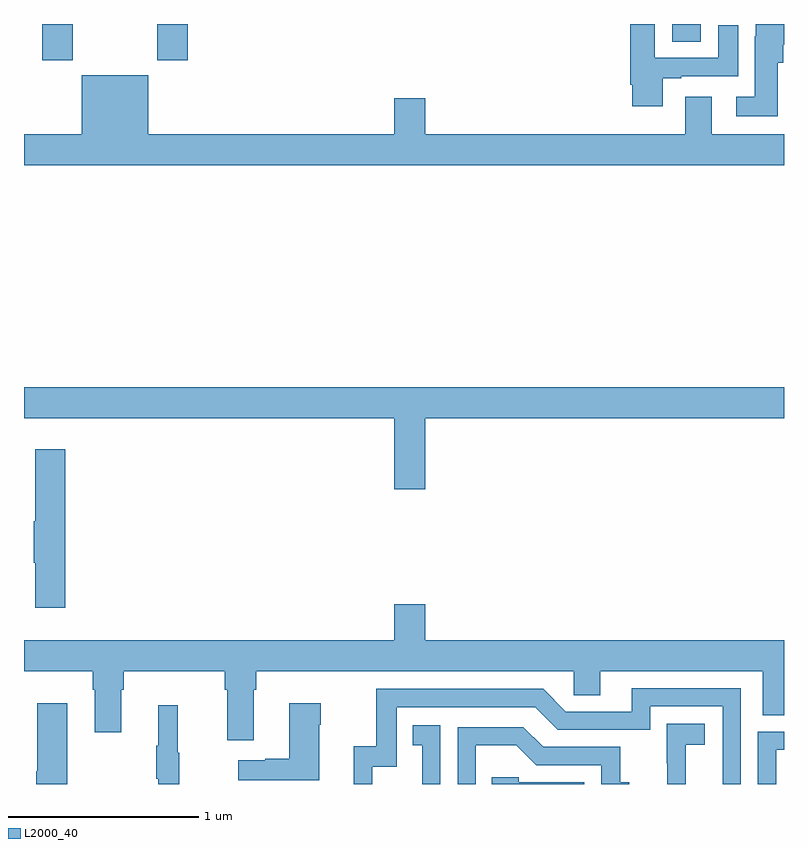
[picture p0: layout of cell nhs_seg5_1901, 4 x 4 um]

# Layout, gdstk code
import gdstk
lib = gdstk.Library(unit=1e-6, precision=1e-09)
def R(c, l, rs):  # rectangles x0, y0, x1, y1
    for r in rs: c.add(gdstk.rectangle(r[:2], r[2:], *l))
def P(c, l, *ps):  # polygons
    for p in ps: c.add(gdstk.Polygon(p, *l))
L2000_40 = (2000, 40)

nhs_seg5_1901 = lib.new_cell('nhs_seg5_1901')
R(nhs_seg5_1901, L2000_40, [(223.097,894.609,223.257,894.799), (223.702,894.609,223.862,894.799), (226.412,894.706,226.561,894.799)])
P(nhs_seg5_1901, L2000_40, [(226.966,894.594),(226.997,894.594),(226.997,894.689),(227,894.689),(227,894.799),(226.851,894.799),(226.851,894.734),(226.847,894.734),(226.847,894.415),(226.749,894.415),(226.749,894.314),(226.966,894.314)],
  [(226.363,894.513),(226.459,894.513),(226.459,894.525),(226.759,894.525),(226.759,894.793),(226.655,894.793),(226.655,894.621),(226.321,894.621),(226.321,894.799),(226.19,894.799),(226.19,894.478),(226.202,894.478),(226.202,894.366),(226.363,894.366)],
  [(227,894.22),(226.621,894.22),(226.621,894.415),(226.481,894.415),(226.481,894.22),(225.112,894.22),(225.112,894.409),(224.948,894.409),(224.948,894.22),(223.654,894.22),(223.654,894.529),(223.304,894.529),(223.304,894.22),(223,894.22),(223,894.056),(227,894.056)],
  [(225.112,892.724),(227,892.724),(227,892.888),(223,892.888),(223,892.724),(224.948,892.724),(224.948,892.35),(225.112,892.35)],
  [(223.217,892.561),(223.058,892.561),(223.058,892.181),(223.051,892.181),(223.051,891.964),(223.058,891.964),(223.058,891.726),(223.217,891.726)],
  [(224.209,891.296),(224.222,891.296),(224.222,891.392),(225.894,891.392),(225.894,891.265),(226.033,891.265),(226.033,891.392),(226.889,891.392),(226.889,891.16),(227,891.16),(227,891.556),(225.112,891.556),(225.112,891.745),(224.948,891.745),(224.948,891.556),(223,891.556),(223,891.392),(223.361,891.392),(223.361,891.296),(223.373,891.296),(223.373,891.072),(223.513,891.072),(223.513,891.296),(223.526,891.296),(223.526,891.392),(224.057,891.392),(224.057,891.296),(224.069,891.296),(224.069,891.03),(224.209,891.03)],
  [(224.832,890.889),(224.961,890.889),(224.961,891.204),(225.69,891.204),(225.81,891.084),(226.296,891.084),(226.296,891.207),(226.677,891.207),(226.677,890.799),(226.773,890.799),(226.773,891.303),(226.199,891.303),(226.199,891.18),(225.852,891.18),(225.732,891.3),(224.853,891.3),(224.853,890.998),(224.735,890.998),(224.735,890.799),(224.832,890.799)],
  [(223.228,891.223),(223.07,891.223),(223.07,890.865),(223.064,890.865),(223.064,890.799),(223.228,890.799)],
  [(224.554,891.11),(224.562,891.11),(224.562,891.223),(224.396,891.223),(224.396,890.933),(224.27,890.933),(224.27,890.923),(224.127,890.923),(224.127,890.819),(224.554,890.819)],
  [(223.816,890.964),(223.808,890.964),(223.808,891.214),(223.706,891.214),(223.706,891.001),(223.695,891.001),(223.695,890.827),(223.706,890.827),(223.706,890.799),(223.816,890.799)],
  [(226.484,891.005),(226.582,891.005),(226.582,891.115),(226.384,891.115),(226.384,890.909),(226.385,890.909),(226.385,890.799),(226.484,890.799)],
  [(225.192,891.109),(225.046,891.109),(225.046,891.003),(225.095,891.003),(225.095,890.799),(225.192,890.799)],
  [(225.378,891.002),(225.592,891.002),(225.696,890.898),(226.038,890.898),(226.038,890.799),(226.186,890.799),(226.186,890.809),(226.137,890.809),(226.137,890.994),(225.733,890.994),(225.628,891.099),(225.282,891.099),(225.282,890.799),(225.378,890.799)],
  [(226.959,890.979),(227,890.979),(227,891.075),(226.863,891.075),(226.863,890.799),(226.959,890.799)],
  [(225.948,890.808),(225.603,890.808),(225.603,890.835),(225.463,890.835),(225.463,890.799),(225.948,890.799)])

lib.write_gds('nhs_seg5_1901.gds')
